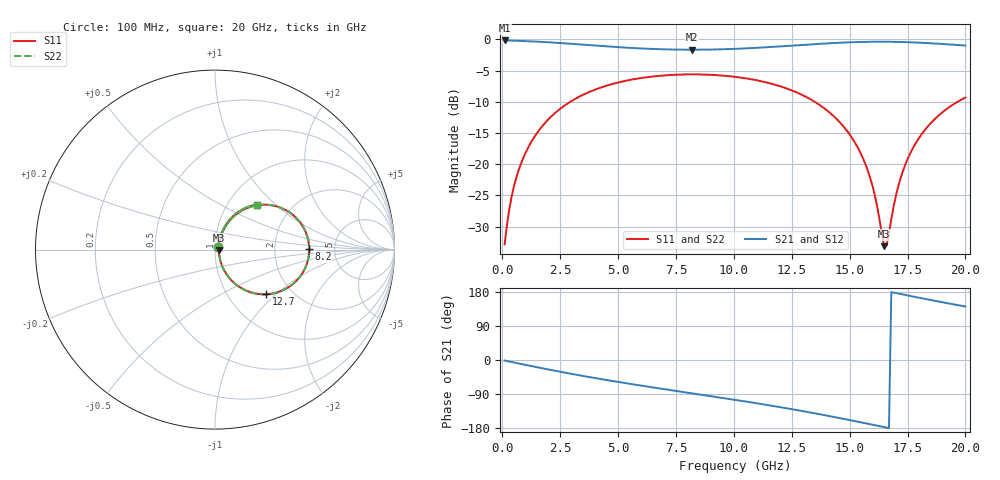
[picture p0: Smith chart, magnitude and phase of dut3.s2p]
! Touchstone file exported from HFSS 2026.1.0
!  File:  C:/ffzhzh/LocalFiles/Ansys_Project_Files/temp_val_TSV_RDL_3_1782975166_45748.aedt
!  Generated:  03:04:32 PM Jul  2, 2026
!  Design:  TSV_RDL
!  Project:  temp_val_TSV_RDL_3_1782975166_45748
! Variables:
!  h_bsmrdl = 5.9um
!  h_ox = 20um
!  h_rdl = 5um
!  h_sub = 78.29um
!  h_tmrdl = 2.36um
!  h_tsv = 78.29um
!  h_via = 3um
!  l_bsmrdl = 321.2um
!  l_sub = 3604.61um
!  l_tmrdl = 524.11um
!  m_sub = 200um
!  pitch = 50.2um
!  r_tsv = 4.65um
!  s_tmrdl = 10um
!  w_bsmrdl = 22.79um
!  w_sub = 500um
!  w_tmrdl = 25.4um
!  x_tsv_center1 = 536.81um
!  x_tsv_center2 = 880.8um
!  x_tsv_center3 = 1430.31um
!  x_tsv_center4 = 1774.3um
!  x_tsv_center5 = 2323.81um
!  x_tsv_center6 = 2667.8um
# GHz S MA R 50.000000
! Terminal data exported
! Port[1] = TM_RDL1_1_T1
! Port[2] = TM_RDL5_1_T1
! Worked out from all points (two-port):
!   200 points, 100 MHz to 20 GHz, reference 50 ohm
!   highest |S21| = -0.16 dB at 100 MHz (marker M1); lowest = -1.6 dB at 8.2 GHz (marker M2)
!   |S21| within 3 dB of the highest: start of sweep to end of sweep
!   lowest |S11| = -33.1 dB at 16.5 GHz (marker M3), VSWR 1.05, Z = 52.2 - j0.488 ohm
!   |S11| at or under -10 dB: start of sweep to 2.931 GHz; 13.5 GHz to 19.66 GHz (6.161 GHz wide, 37.2 % of centre)
!   |S22| runs from -33.2 to -5.6 dB; largest |S21 - S12| = 1.7e-14
!   S11 on the Smith chart (normalised r, x): 100 MHz: 1.04, +0.03; 8.2 GHz: 3.21, +0.02; 12.7 GHz: 1.49, -0.86; 20 GHz: 1.36, +0.77
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0.1  0.02285 34.0  0.9813 -1.3  0.9813 -1.3  0.02285 34.0
! Gamma 0 0 0 0
! Port Impedance 50 0 50 0
0.3  0.04344 58.6  0.9793 -4.0  0.9793 -4.0  0.04344 58.6
0.5  0.06615 64.7  0.9767 -6.5  0.9767 -6.5  0.06615 64.7
1.1  0.1341 66.0  0.9679 -14.1  0.9679 -14.1  0.1341 66.0
2.1  0.24 57.9  0.9464 -26.3  0.9464 -26.3  0.24 57.9
3.5  0.3612 43.8  0.9072 -42.2  0.9072 -42.2  0.3612 43.8
6.8  0.5112 12.6  0.8351 -75.1  0.8351 -75.1  0.5112 12.6
8.2  0.5249 0.3  0.8272 -88.0  0.8272 -88.0  0.5249 0.3
10.1  0.5002 -16.6  0.8411 -105.6  0.8411 -105.6  0.5003 -16.6
12.7  0.3771 -41.3  0.8968 -131.9  0.8968 -131.9  0.3771 -41.3
13.4  0.3242 -48.4  0.9146 -139.6  0.9146 -139.6  0.3242 -48.4
14.6  0.2146 -60.1  0.9415 -153.6  0.9415 -153.6  0.2146 -60.2
15.5  0.1201 -66.3  0.9546 -164.7  0.9546 -164.7  0.1201 -66.4
16  0.06574 -63.6  0.9582 -170.9  0.9582 -170.9  0.06565 -63.9
16.5  0.02208 -12.2  0.9587 -177.1  0.9587 -177.1  0.02177 -12.5
16.6  0.02238 16.3  0.9584 -178.4  0.9584 -178.4  0.02206 16.5
16.7  0.02783 38.3  0.958 -179.6  0.958 -179.6  0.02756 38.7
16.9  0.0458 58.4  0.9568 177.9  0.9568 177.9  0.04562 58.7
17.2  0.07732 66.6  0.9542 174.1  0.9542 174.1  0.07721 66.8
17.8  0.1417 66.8  0.9459 166.7  0.9459 166.7  0.1416 66.9
18.7  0.2324 59.7  0.9274 155.9  0.9274 155.9  0.2324 59.8
20  0.3426 47.0  0.8935 141.2  0.8935 141.2  0.3425 47.1
